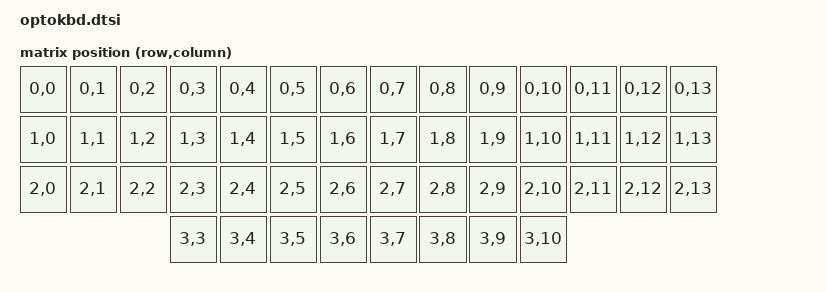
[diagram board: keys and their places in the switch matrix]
/*
 * optokbd: split wireless keyboard, a Seeed XIAO nRF52840 (board:
 * seeeduino_xiao_ble) in each half. https://github.com/hhiroshell/optokbd
 *
 * Each half has a 4 x 7 matrix (R0-R3 x C0-C6) with 25 keys: 7 columns on
 * R0-R2 and 4 thumb keys on R3 C3-C6. On both halves C0 is the outermost
 * (pinky side) column and C6 the innermost one. Diodes are col2row.
 *
 * The row and column pins differ between the halves, so row-gpios and
 * col-gpios are set in optokbd_left.overlay and optokbd_right.overlay.
 */

#include <dt-bindings/zmk/matrix_transform.h>
#include "optokbd-layouts.dtsi"

&physical_layout0 {
    transform = <&matrix_transform0>;
};

/ {
    chosen {
        zmk,kscan = &kscan0;
        zmk,physical-layout = &physical_layout0;
    };

    /*
     * Columns 0-6 are the left half (outer to inner) and columns 7-13 the
     * right half (inner to outer), so the keymap reads left to right.
     */
    matrix_transform0: keymap_transform_0 {
        compatible = "zmk,matrix-transform";
        columns = <14>;
        rows = <4>;
        map = <
RC(0,0) RC(0,1) RC(0,2) RC(0,3) RC(0,4) RC(0,5) RC(0,6)   RC(0,7) RC(0,8) RC(0,9) RC(0,10) RC(0,11) RC(0,12) RC(0,13)
RC(1,0) RC(1,1) RC(1,2) RC(1,3) RC(1,4) RC(1,5) RC(1,6)   RC(1,7) RC(1,8) RC(1,9) RC(1,10) RC(1,11) RC(1,12) RC(1,13)
RC(2,0) RC(2,1) RC(2,2) RC(2,3) RC(2,4) RC(2,5) RC(2,6)   RC(2,7) RC(2,8) RC(2,9) RC(2,10) RC(2,11) RC(2,12) RC(2,13)
                        RC(3,3) RC(3,4) RC(3,5) RC(3,6)   RC(3,7) RC(3,8) RC(3,9) RC(3,10)
        >;
    };

    kscan0: kscan_0 {
        compatible = "zmk,kscan-gpio-matrix";
        wakeup-source;
        diode-direction = "col2row";
    };
};
